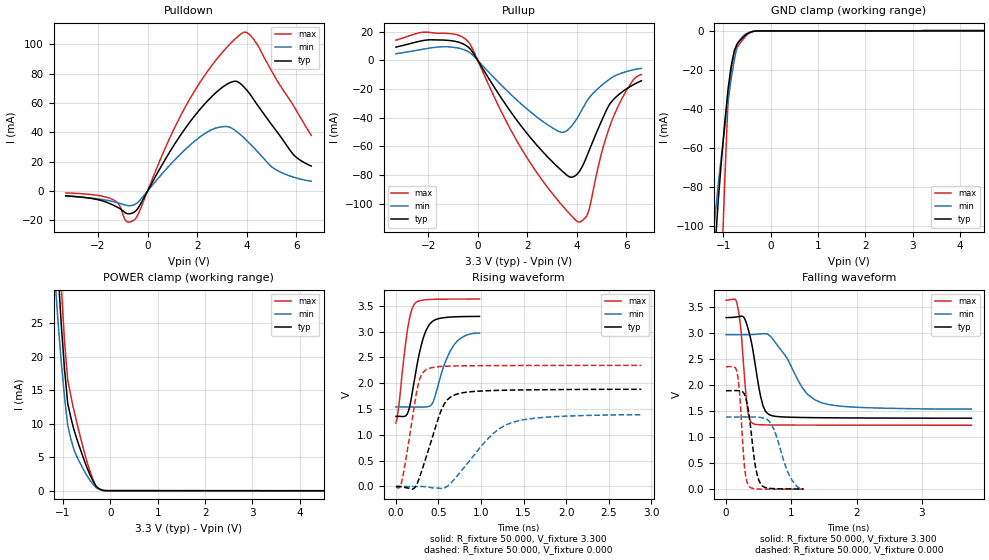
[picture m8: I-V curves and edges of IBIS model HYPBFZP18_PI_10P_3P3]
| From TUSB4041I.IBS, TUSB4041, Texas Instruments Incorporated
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|   Model Cell HYPBFZP18_PI_10P_3P3
|BC3340DSHYPBFZP18_PI_10P_3P3
[Model]   HYPBFZP18_PI_10P_3P3
Model_type   I/O
Polarity   Non-Inverting
Enable   Active-Low
Vinl =  0.8V
Vinh =  2V
Cref =  7pF
Rref =  100.00M
Vref =  0V
Vmeas =  1.65
C_comp   1.726631p   1.582948p   1.812054p
[Model Spec]
Vinl   0.8V   0.8V   0.8V
Vinh   2V   2V   2V
[Temperature Range]   25   125   -40
[Voltage Range]   3.3   2.97   3.63
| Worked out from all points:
|   slope of the pulldown table from 0 to 0.495 V, typ, clamps not added: 32.6 ohm
|   slope of the pullup table from 0 to 0.495 V, typ, clamps not added: 35.4 ohm
|   GND clamp passes 1 mA (typ) near -0.45 V on its own axis
|   POWER clamp passes 1 mA (typ) near -0.33 V on its own axis
|   rising waveform, R_fixture 50.000, V_fixture 3.300: 20-80 % time 143ps typ, 187ps min, 103ps max; typ from 1.36 V to 3.29 V
|   rising waveform, R_fixture 50.000, V_fixture 0.000: 20-80 % time 223ps typ, 452ps min, 139ps max; typ from 0 V to 1.88 V
|   falling waveform, R_fixture 50.000, V_fixture 3.300: 20-80 % time 163ps typ, 413ps min, 93.5ps max; typ from 3.3 V to 1.36 V
|   falling waveform, R_fixture 50.000, V_fixture 0.000: 20-80 % time 117ps typ, 220ps min, 74.4ps max; typ from 1.89 V to 0.003 V
[POWER_clamp]
|   voltage   I(typ)   I(min)   I(max)
-3.3V     369.6mA    284.8mA    471.8mA
-1.167V   41.03mA    31.43mA    51.19mA
-1.1V     32.16mA    24.74mA    39.89mA
-1.033V   24.41mA    18.89mA    30.01mA
-966.7mV  18.03mA    13.89mA    22.19mA
-900mV    13.01mA    9.733mA    16.43mA
-766.7mV  9.049mA    6.093mA    11.9mA
-500mV    3.542mA    2.3mA      4.461mA
-300mV    640.4uA    437uA      619.2uA
-233.3mV  273.6uA    198.6uA    246.8uA
-33.33mV  5.413uA    4.415uA    8.868uA
6.6V      -215.7nA   -34.8uA    -30.76nA
[Pulldown]
|   voltage   I(typ)   I(min)   I(max)
-3.3V     -3.365mA   -3.408mA   -1.35mA
-1.5V     -8.823mA   -6.868mA   -5.16mA
-1.2V     -11.25mA   -8.144mA   -8.194mA
-900mV    -14.96mA   -9.653mA   -20.06mA
-500mV    -14.05mA   -9.144mA   -19.19mA
1.1V      32.18mA    21.23mA    43.46mA
2.4V      61.1mA     40.13mA    81.13mA
3.4V      74.34mA    42.73mA    101.5mA
3.9V      70.64mA    35.96mA    108.3mA
5.1V      43.02mA    15.26mA    78.93mA
5.9V      24.48mA    9.306mA    57.71mA
6.6V      16.92mA    6.609mA    37.85mA
[Pullup]
|   voltage   I(typ)   I(min)   I(max)
-3.3V     9.309mA    4.668mA    14.12mA
-2.1V     14.15mA    8.14mA     19.77mA
-400mV    9.543mA    6.3mA      13.38mA
1.5V      -39.97mA   -26.45mA   -53.78mA
3.1V      -72.31mA   -48.02mA   -94.94mA
3.6V      -80.23mA   -49.04mA   -105.1mA
4.1V      -77.58mA   -37.73mA   -113mA
4.5V      -62.66mA   -25.98mA   -103.7mA
5V        -42.07mA   -17.41mA   -64.41mA
5.5V      -26.88mA   -11.08mA   -38.35mA
6.2V      -17.74mA   -6.877mA   -15.47mA
6.6V      -14.22mA   -5.549mA   -9.882mA
[GND_clamp]
|   voltage   I(typ)   I(min)   I(max)
-3.3V     -996.3mA   -831.9mA   -2.048A
-1.233V   -134.2mA   -111.3mA   -283.3mA
-1.167V   -109.2mA   -93.69mA   -227.4mA
-1.1V     -85.3mA    -77.39mA   -172.3mA
-1.033V   -65.22mA   -63.13mA   -121.7mA
-966.7mV  -46.84mA   -49.44mA   -76.28mA
-900mV    -30.14mA   -36.33mA   -36.16mA
-833.3mV  -18.07mA   -24.79mA   -20.33mA
-766.7mV  -10.12mA   -14.98mA   -11.03mA
-700mV    -6.271mA   -6.911mA   -8.236mA
-500mV    -1.565mA   -1.211mA   -1.981mA
6.6V      3.807uA    305.7uA    8.152uA
[Ramp]
| variable   typ   min   max
dV/dt_f   1.18035/0.1660952n  0.8590365/0.4364875n   1.457049/94.57634p
dV/dt_r   1.167005/0.2296879n  0.8504954/0.4873644n   1.449474/0.1402688n
R_load = 50
[Rising Waveform]
R_fixture = 50.000
V_fixture = 3.300
V_fixture_min = 2.970
V_fixture_max = 3.630
|  time   V(typ)   V(min)   V(max)
0s        1.358V     1.54V      1.232V
34.5ps    1.358V     1.54V      1.572V
133.5ps   1.407V     1.54V      3.009V
211.5ps   2.006V     1.54V      3.518V
310.5ps   2.814V     1.538V     3.608V
405ps     3.16V      1.566V     3.623V
457.5ps   3.225V     1.733V     3.626V
577.5ps   3.272V     2.397V     3.628V
676.5ps   3.285V     2.726V     3.629V
982.5ps   3.294V     2.97V      3.63V
[Rising Waveform]
R_fixture = 50.000
V_fixture = 0.000
V_fixture_min = 0.000
V_fixture_max = 0.000
|  time   V(typ)   V(min)   V(max)
0s        220.7uV    24.97uV    807.4nV
70.5ps    -3.233mV   13.36uV    109.1mV
223.5ps   -19.04mV   63.09uV    1.63V
288ps     227.8mV    -91.93uV   2.116V
373.5ps   662.9mV    -9.041mV   2.277V
567ps     1.595V     -28.26mV   2.328V
738ps     1.799V     241.9mV    2.336V
1.115ns   1.857V     980.2mV    2.341V
1.356ns   1.867V     1.234V     2.343V
2.885ns   1.882V     1.388V     2.346V
[Falling Waveform]
R_fixture = 50.000
V_fixture = 3.300
V_fixture_min = 2.970
V_fixture_max = 3.630
|  time   V(typ)   V(min)   V(max)
0s        3.299V     2.97V      3.633V
166.5ps   3.314V     2.969V     3.58V
228ps     3.324V     2.97V      3.06V
331.5ps   3.111V     2.972V     1.517V
418.5ps   2.622V     2.975V     1.259V
565.5ps   1.607V     2.989V     1.237V
711ps     1.411V     2.897V     1.234V
1.184ns   1.378V     1.926V     1.232V
1.464ns   1.374V     1.662V     1.231V
3.762ns   1.365V     1.54V      1.229V
[Falling Waveform]
R_fixture = 50.000
V_fixture = 0.000
V_fixture_min = 0.000
V_fixture_max = 0.000
|  time   V(typ)   V(min)   V(max)
0s        1.892V     1.388V     2.352V
172.5ps   1.896V     1.388V     2.221V
207ps     1.891V     1.388V     1.86V
285ps     1.816V     1.389V     403.5mV
346.5ps   1.481V     1.389V     62.56mV
453ps     418.2mV    1.387V     5.693mV
529.5ps   103mV      1.379V     1.245mV
684ps     13.61mV    1.267V     158.8uV
976.5ps   4.484mV    248.6mV    87.2uV
1.19ns    3.344mV    24.97uV    67.59uV
